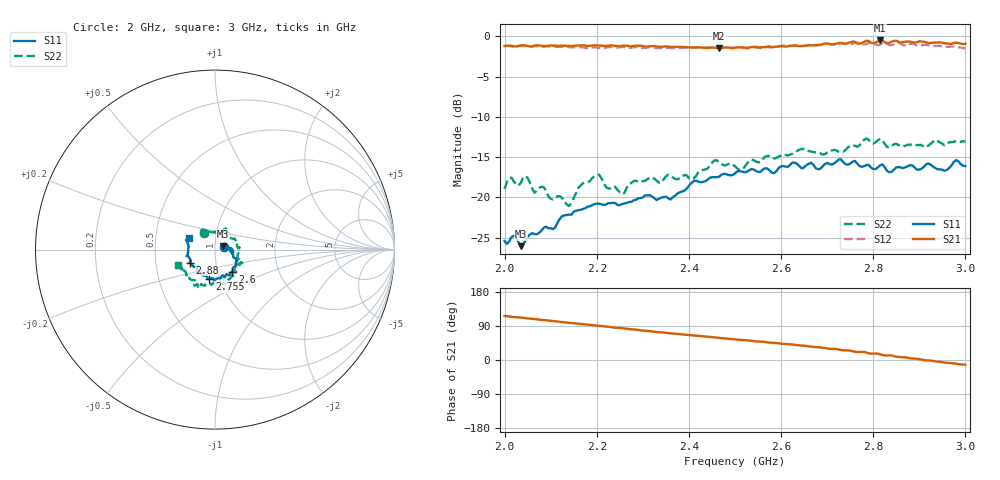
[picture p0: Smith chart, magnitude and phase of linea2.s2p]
# Hz S DB R 50
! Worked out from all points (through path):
!   201 points, 2 GHz to 3 GHz, reference 50 ohm
!   highest |S21| = -0.51 dB at 2.815 GHz (marker M1); lowest = -1.5 dB at 2.465 GHz (marker M2)
!   group delay of S21, straight-line fit = 348 ps
!   lowest |S11| = -26.1 dB at 2.035 GHz (marker M3), VSWR 1.10, Z = 54.8 + j1.96 ohm
!   |S11| at or under -10 dB: start of sweep to end of sweep
!   |S22| runs from -21.1 to -12.7 dB; largest |S21 - S12| = 0.064
!   S11 on the Smith chart (normalised r, x): 2 GHz: 1.11, +0.03; 2.6 GHz: 1.17, -0.29; 2.755 GHz: 0.89, -0.30; 2.88 GHz: 0.75, -0.11; 3 GHz: 0.74, +0.09
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2e9  -25.42 15.4  -1.22 116.1  -1.15 115.6  -18.95 123.2
2.01e9  -25.46 21.0  -1.18 115.1  -1.19 113.8  -17.65 125.1
2.035e9  -26.05 21.0  -1.15 112.2  -1.16 110.8  -18.20 118.5
2.045e9  -25.43 20.5  -1.14 110.4  -1.25 109.2  -17.36 118.7
2.065e9  -24.57 7.1  -1.16 108.2  -1.23 106.9  -19.42 113.6
2.085e9  -23.75 6.9  -1.21 105.2  -1.28 104.6  -18.73 105.9
2.14e9  -22.14 5.1  -1.20 98.0  -1.35 97.7  -21.08 77.9
2.17e9  -21.44 -3.9  -1.12 94.5  -1.38 94.0  -18.24 66.8
2.205e9  -20.77 -8.2  -1.13 89.9  -1.45 89.7  -17.18 62.0
2.255e9  -20.83 3.6  -1.17 84.1  -1.34 84.3  -19.58 41.4
2.28e9  -20.37 -0.1  -1.22 80.8  -1.37 81.7  -17.99 29.2
2.335e9  -20.18 -10.1  -1.28 73.5  -1.47 75.1  -18.17 11.0
2.405e9  -18.23 -22.7  -1.37 65.4  -1.45 66.8  -17.77 -12.5
2.465e9  -17.45 -28.2  -1.45 58.5  -1.49 59.5  -15.64 -25.5
2.5e9  -17.02 -33.4  -1.41 54.5  -1.46 55.7  -16.13 -32.4
2.6e9  -16.15 -52.0  -1.21 43.2  -1.20 44.5  -14.81 -62.6
2.67e9  -15.95 -71.0  -1.13 34.5  -1.03 34.8  -14.38 -80.8
2.755e9  -15.58 -101.1  -0.66 23.3  -0.94 23.9  -13.56 -107.4
2.815e9  -16.02 -125.7  -0.51 14.9  -1.01 15.2  -12.74 -119.2
2.835e9  -16.88 -133.9  -0.80 12.4  -1.08 10.2  -13.79 -123.2
2.88e9  -16.00 -153.0  -0.66 4.4  -0.95 5.6  -13.45 -136.6
3e9  -16.10 156.7  -0.95 -12.4  -1.51 -10.5  -13.13 -157.6
